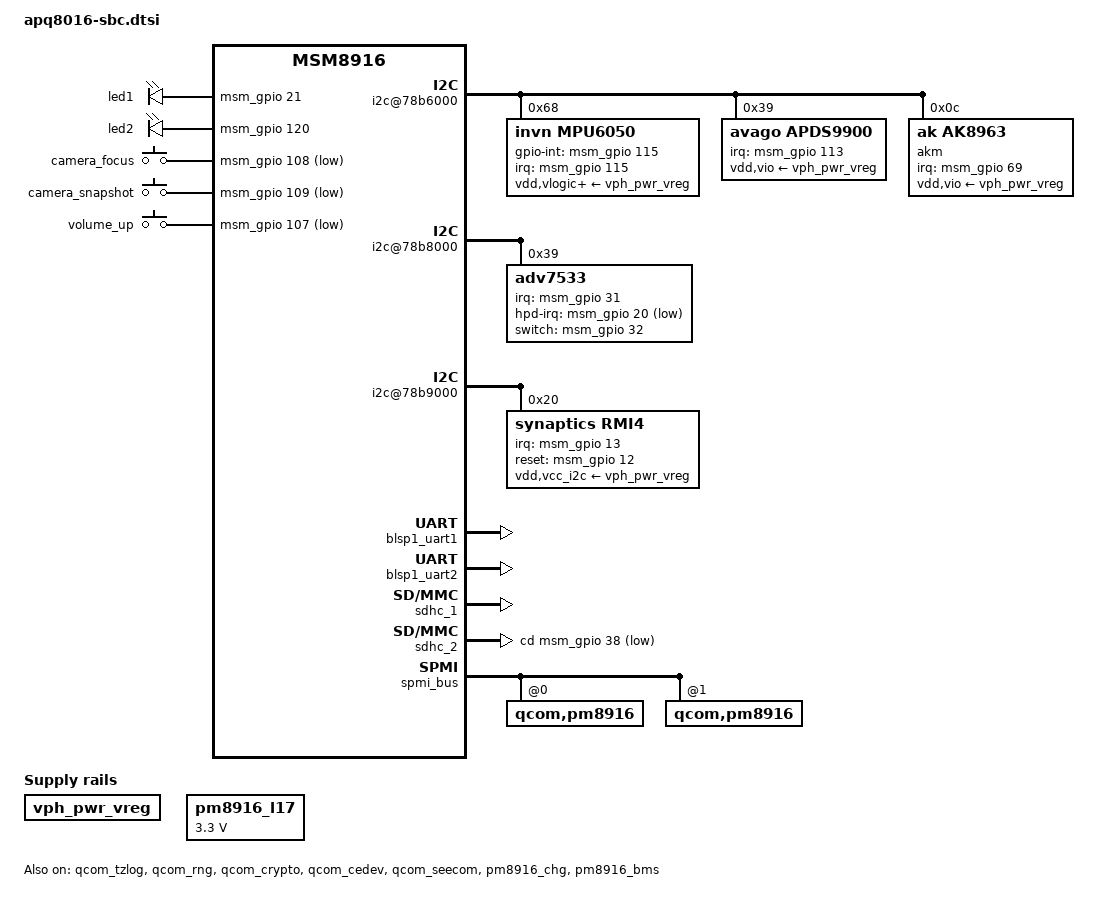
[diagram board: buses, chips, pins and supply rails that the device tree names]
/* Copyright (c) 2015, The Linux Foundation. All rights reserved.
 *
 * This program is free software; you can redistribute it and/or modify
 * it under the terms of the GNU General Public License version 2 and
 * only version 2 as published by the Free Software Foundation.
 *
 * This program is distributed in the hope that it will be useful,
 * but WITHOUT ANY WARRANTY; without even the implied warranty of
 * MERCHANTABILITY or FITNESS FOR A PARTICULAR PURPOSE.  See the
 * GNU General Public License for more details.
 */

#include "msm8916.dtsi"
#include "msm8916-pinctrl.dtsi"
#include "apq8016-camera-sensor-sbc.dtsi"
#include "dsi-panel-jdi-1080p-video.dtsi"

/ {
	aliases {
		serial0 = &blsp1_uart2;
	};
};

&soc {
	i2c@78b6000 { /* BLSP1 QUP2 */
		mpu6050@68 { /* Gyroscope and accelerometer sensor combo */
			compatible = "invn,mpu6050";
			reg = <0x68>;
			pinctrl-names = "mpu_default","mpu_sleep";
			pinctrl-0 = <&mpu6050_default>;
			pinctrl-1 = <&mpu6050_sleep>;
			interrupt-parent = <&msm_gpio>;
			interrupts = <115 0x2>;
			vdd-supply = <&vph_pwr_vreg>;
			vlogic-supply = <&vph_pwr_vreg>;
			vi2c-supply = <&vph_pwr_vreg>;
			invn,gpio-int = <&msm_gpio 115 0x2>;
			invn,place = "Portrait Down Back Side";
		};

		avago@39 { /* Ambient light and proximity sensor */
			compatible = "avago,apds9900";
			reg = <0x39>;
			pinctrl-names = "default","sleep";
			pinctrl-0 = <&apds99xx_default>;
			pinctrl-1 = <&apds99xx_sleep>;
			interrupt-parent = <&msm_gpio>;
			interrupts = <113 0x2002>;
			vdd-supply = <&vph_pwr_vreg>;
			vio-supply = <&vph_pwr_vreg>;
			avago,irq-gpio = <&msm_gpio 113 0x2002>;
			avago,ps-threshold = <600>;
			avago,ps-hysteresis-threshold = <500>;
			avago,ps-pulse = <8>;
			avago,ps-pgain = <0>;
			avago,als-B = <223>;
			avago,als-C = <70>;
			avago,als-D = <142>;
			avago,ga-value = <48>;
		};

		akm@c {
			compatible = "ak,ak8963";
			reg = <0x0c>;
			pinctrl-names = "ak8963_default", "ak8963_sleep";
			pinctrl-0 = <&ak8963_default>;
			pinctrl-1 = <&ak8963_sleep>;
			interrupt-parent = <&msm_gpio>;
			interrupts = <69 0x2>;
			vdd-supply = <&vph_pwr_vreg>;
			vio-supply = <&vph_pwr_vreg>;
			ak,layout = <0x6>;
			ak,auto-report;
		};
	};

    spi_0 { /* BLSP1 QUP3 */
		status = "disabled";
    };

	i2c@78b8000 { /* BLSP1 QUP4 */
		/* DSI_TO_HDMI I2C configuration */
		adv7533@39 {
			compatible = "adv7533";
			reg = <0x39>;
			adv7533,video-mode = <3>; /* 3 = 1080p */
			adv7533,main-addr = <0x39>;
			adv7533,cec-dsi-addr = <0x3C>;
			adv7533,audio = <1>;
			pinctrl-names = "pmx_adv7533_active","pmx_adv7533_suspend";
			pinctrl-0 = <&adv7533_int_active &adv7533_hpd_int_active &adv7533_switch_active>;
			pinctrl-1 = <&adv7533_int_suspend &adv7533_hpd_int_suspend &adv7533_switch_suspend>;
			adv7533,irq-gpio = <&msm_gpio 31 0x2002>;
			adv7533,hpd-irq-gpio = <&msm_gpio 20 0x2003>;
			adv7533,switch-gpio = <&msm_gpio 32 0x0>;
		};
	};

	i2c@78b9000 { /* BLSP1 QUP5 */
		synaptics@20 {
			compatible = "synaptics,rmi4";
			reg = <0x20>;
			interrupt-parent = <&msm_gpio>;
			interrupts = <13 0x2008>;
			vdd-supply = <&vph_pwr_vreg>;
			vcc_i2c-supply = <&vph_pwr_vreg>;
			/* pins used by touchscreen */
			pinctrl-names = "pmx_ts_active","pmx_ts_suspend","pmx_ts_suspend";
			pinctrl-0 = <&ts_int_active &ts_reset_active>;
			pinctrl-1 = <&ts_int_suspend &ts_reset_suspend>;
			pinctrl-2 = <&ts_release>;
			synaptics,display-coords = <0 0 1079 1919>;
			synaptics,panel-coords = <0 0 1079 2084>;
			synaptics,irq-gpio = <&msm_gpio 13 0x2008>;
			synaptics,reset-gpio = <&msm_gpio 12 0x0>;
			synaptics,i2c-pull-up;
			synaptics,power-down;
			synaptics,disable-gpios;
			/* Underlying clocks used by secure touch */
			clocks = <&clock_gcc clk_gcc_blsp1_ahb_clk>,
			 <&clock_gcc clk_gcc_blsp1_qup5_i2c_apps_clk>;
			clock-names = "iface_clk", "core_clk";
		};
	};

	i2c@78ba000 { /* BLSP1 QUP6 */
        /*insert i2c_6 states expansion connector  */
	};

	/*
	* vph_pwr_vreg represents the unregulated battery voltage supply
	* VPH_PWR that is present whenever the device is powered on.
	*/
	vph_pwr_vreg: vph_pwr_vreg {
		compatible = "regulator-fixed";
		regulator-name = "vph_pwr";
		status = "ok";
		regulator-always-on;
		enable-active-high;
	};


	gen-vkeys {
		compatible = "qcom,gen-vkeys";
		label = "synaptics_rmi4_i2c";
		qcom,disp-maxx = <1079>;
		qcom,disp-maxy = <1919>;
		qcom,panel-maxx = <1079>;
		qcom,panel-maxy = <2084>;
		qcom,key-codes = <158 139 172 217>;
	};


	sound {
		compatible = "qcom,msm8x16-audio-codec";
		qcom,model = "msm8x16-snd-card-sbc";
		qcom,msm-snd-card-id = <0>;
		qcom,msm-codec-type = "internal";
		qcom,msm-ext-pa = "quaternary";
		qcom,msm-mclk-freq = <9600000>;
		qcom,msm-mbhc-hphl-swh = <0>;
		qcom,msm-mbhc-gnd-swh = <0>;
		qcom,msm-micbias1-ext-cap;
		qcom,msm-hs-micbias-type = "internal";
		qcom,audio-routing =
			"RX_BIAS", "MCLK",
			"SPK_RX_BIAS", "MCLK",
			"INT_LDO_H", "MCLK",
			"MIC BIAS External", "Handset Mic",
			"MIC BIAS Internal2", "Headset Mic",
			"MIC BIAS External", "Secondary Mic",
			"AMIC1", "MIC BIAS External",
			"AMIC2", "MIC BIAS Internal2",
			"AMIC3", "MIC BIAS External",
			"DMIC1", "MIC BIAS Internal1",
			"MIC BIAS Internal1", "Digital Mic1",
			"DMIC2", "MIC BIAS Internal1",
			"MIC BIAS Internal1", "Digital Mic2";
		pinctrl-names = "cdc_lines_act",
				"cdc_lines_sus",
				"cdc_lines_sec_ext_act",
				"cdc_lines_sec_ext_sus",
				"cross_conn_det_act",
				"cross_conn_det_sus",
				"cdc_lines_quat_ext_act",
				"cdc_lines_quat_ext_sus";
		pinctrl-0 = <&cdc_pdm_lines_act>;
		pinctrl-1 = <&cdc_pdm_lines_sus>;
		pinctrl-2 = <&cdc_pdm_lines_act &cdc_ext_pa_act
						&cdc_ext_pa_ws_act>;
		pinctrl-3 = <&cdc_pdm_lines_sus &cdc_ext_pa_sus
						&cdc_ext_pa_ws_sus>;
		pinctrl-4 = <&cross_conn_det_act>;
		pinctrl-5 = <&cross_conn_det_sus>;
		pinctrl-6 = <&ext_cdc_tlmm_lines_act &cdc_pdm_lines_act
						&cross_conn_det_act>;
		pinctrl-7 = <&ext_cdc_tlmm_lines_sus &cdc_pdm_lines_sus
						&cross_conn_det_sus>;

		asoc-platform = <&pcm0>, <&pcm1>, <&voip>, <&voice>,
				<&loopback>, <&compress>, <&hostless>,
				<&afe>, <&lsm>, <&routing>, <&lpa>;
		asoc-platform-names = "msm-pcm-dsp.0", "msm-pcm-dsp.1",
				"msm-voip-dsp", "msm-pcm-voice", "msm-pcm-loopback",
				"msm-compress-dsp", "msm-pcm-hostless", "msm-pcm-afe",
				"msm-lsm-client", "msm-pcm-routing", "msm-pcm-lpa";
		asoc-cpu = <&dai_pri_auxpcm>, <&dai_hdmi>,
				<&dai_mi2s0>, <&dai_mi2s1>, <&dai_mi2s2>, <&dai_mi2s3>,
				<&sb_0_rx>, <&sb_0_tx>, <&sb_1_rx>, <&sb_1_tx>,
				<&sb_3_rx>, <&sb_3_tx>, <&sb_4_rx>, <&sb_4_tx>,
				<&bt_sco_rx>, <&bt_sco_tx>, <&int_fm_rx>, <&int_fm_tx>,
				<&afe_pcm_rx>, <&afe_pcm_tx>, <&afe_proxy_rx>, <&afe_proxy_tx>,
				<&incall_record_rx>, <&incall_record_tx>, <&incall_music_rx>,
				<&incall_music_2_rx>;
		asoc-cpu-names = "msm-dai-q6-auxpcm.1", "msm-dai-q6-hdmi.8",
				"msm-dai-q6-mi2s.0", "msm-dai-q6-mi2s.1",
				"msm-dai-q6-mi2s.2", "msm-dai-q6-mi2s.3",
				"msm-dai-q6-dev.16384", "msm-dai-q6-dev.16385",
				"msm-dai-q6-dev.16386", "msm-dai-q6-dev.16387",
				"msm-dai-q6-dev.16390", "msm-dai-q6-dev.16391",
				"msm-dai-q6-dev.16392", "msm-dai-q6-dev.16393",
				"msm-dai-q6-dev.12288", "msm-dai-q6-dev.12289",
				"msm-dai-q6-dev.12292", "msm-dai-q6-dev.12293",
				"msm-dai-q6-dev.224", "msm-dai-q6-dev.225",
				"msm-dai-q6-dev.241", "msm-dai-q6-dev.240",
				"msm-dai-q6-dev.32771", "msm-dai-q6-dev.32772",
				"msm-dai-q6-dev.32773", "msm-dai-q6-dev.32770";
		asoc-codec = <&stub_codec>, <&pm8916_tombak_dig>;
		asoc-codec-names = "msm-stub-codec.1", "tombak_codec";
	};

	gpio-leds {
		compatible = "gpio-leds";
		status = "okay";
		pinctrl-names = "default";
		pinctrl-0 = <&gpio_led_off>;

		general1 {
			gpios = <&msm_gpio 21 0>;
			label = "led1";
			linux,default-trigger = "none";
			default-state = "off";
			retain-state-suspended;
		};

		general2 {
			gpios = <&msm_gpio 120 0>;
			label = "led2";
			linux,default-trigger = "none";
			default-state = "off";
			retain-state-suspended;
		};
	};

	gpio_keys {
		compatible = "gpio-keys";
		input-name = "gpio-keys";
		pinctrl-names = "tlmm_gpio_key_active","tlmm_gpio_key_suspend";
		pinctrl-0 = <&gpio_key_active>;
		pinctrl-1 = <&gpio_key_suspend>;

		camera_focus {
			label = "camera_focus";
			gpios = <&msm_gpio 108 0x1>;
			linux,input-type = <1>;
			linux,code = <0x210>;
			gpio-key,wakeup;
			debounce-interval = <15>;
		};

		camera_snapshot {
			label = "camera_snapshot";
			gpios = <&msm_gpio 109 0x1>;
			linux,input-type = <1>;
			linux,code = <0x2fe>;
			gpio-key,wakeup;
			debounce-interval = <15>;
		};

		vol_up {
			label = "volume_up";
			gpios = <&msm_gpio 107 0x1>;
			linux,input-type = <1>;
			linux,code = <115>;
			gpio-key,wakeup;
			debounce-interval = <15>;
		};
	};

	qcom,wcnss-wlan@0a000000 {
		qcom,wlan-indication-enabled;
	};
};

&usb_otg {
	qcom,hsusb-otg-mode = <3>;
	qcom,usbid-gpio = <&msm_gpio 121 0>;
	qcom,hub-reset-gpio = <&pm8916_gpios 3 0>;
	qcom,sw-sel-gpio = <&pm8916_gpios 4 0>;
	pinctrl-names = "default";
	pinctrl-0 = <&usbid_default>;
	vbus_otg-supply = <&vph_pwr_vreg>;
};

&blsp1_uart1 {
	status = "ok";
};

&blsp1_uart2 {
	status = "ok";
	pinctrl-names = "default";
	pinctrl-0 = <&uart_console_sleep>;
};

&sdhc_1 {
	vdd-supply = <&pm8916_l8>;
	qcom,vdd-voltage-level = <2900000 2900000>;
	qcom,vdd-current-level = <200 400000>;

	vdd-io-supply = <&pm8916_l5>;
	qcom,vdd-io-always-on;
	qcom,vdd-io-lpm-sup;
	qcom,vdd-io-voltage-level = <1800000 1800000>;
	qcom,vdd-io-current-level = <200 60000>;

	pinctrl-names = "active", "sleep";
	pinctrl-0 = <&sdc1_clk_on &sdc1_cmd_on &sdc1_data_on>;
	pinctrl-1 = <&sdc1_clk_off &sdc1_cmd_off &sdc1_data_off>;

	qcom,nonremovable;

	status = "ok";
};

&sdhc_2 {
	vdd-supply = <&pm8916_l11>;
	qcom,vdd-voltage-level = <2800000 2950000>;
	qcom,vdd-current-level = <15000 400000>;

	vdd-io-supply = <&pm8916_l12>;
	qcom,vdd-io-voltage-level = <1800000 2950000>;
	qcom,vdd-io-current-level = <200 50000>;

	pinctrl-names = "active", "sleep";
	pinctrl-0 = <&sdc2_clk_on &sdc2_cmd_on &sdc2_data_on &sdc2_cd_on>;
	pinctrl-1 = <&sdc2_clk_off &sdc2_cmd_off &sdc2_data_off &sdc2_cd_off>;

	#address-cells = <0>;
	interrupt-parent = <&sdhc_2>;
	interrupts = <0 1 2>;
	#interrupt-cells = <1>;
	interrupt-map-mask = <0xffffffff>;
	interrupt-map = <0 &intc 0 125 0
			1 &intc 0 221 0
			2 &msm_gpio 38 0>;
	interrupt-names = "hc_irq", "pwr_irq", "status_irq";
	cd-gpios = <&msm_gpio 38 0x1>;

	status = "ok";
};

&dsi_jdi_1080_vid {
	qcom,mdss-dsi-bl-pmic-control-type = "bl_ctrl_pwm";
	qcom,mdss-dsi-bl-pmic-pwm-frequency = <100>;
	qcom,mdss-dsi-bl-pmic-bank-select = <0>;
	qcom,mdss-dsi-pwm-gpio = <&pm8916_mpps 4 0>;

};

&mdss_mdp {
	qcom,mdss-pref-prim-intf = "dsi";

	dsi_adv7533_720p: qcom,mdss_dsi_adv7533_720p {
		label = "adv7533 720p video mode dsi panel";
		qcom,mdss-dsi-panel-name = "dsi_adv7533_720p";
		qcom,mdss-dsi-panel-controller = <&mdss_dsi0>;
		qcom,mdss-dsi-panel-type = "dsi_video_mode";
		qcom,mdss-dsi-panel-destination = "display_1";
		qcom,mdss-dsi-panel-framerate = <60>;
		qcom,mdss-dsi-virtual-channel-id = <0>;
		qcom,mdss-dsi-stream = <0>;
		qcom,mdss-dsi-panel-width = <1280>;
		qcom,mdss-dsi-panel-height = <720>;
		qcom,mdss-dsi-h-front-porch = <110>;
		qcom,mdss-dsi-h-back-porch = <220>;
		qcom,mdss-dsi-h-pulse-width = <40>;
		qcom,mdss-dsi-h-sync-skew = <0>;
		qcom,mdss-dsi-v-back-porch = <20>;
		qcom,mdss-dsi-v-front-porch = <5>;
		qcom,mdss-dsi-v-pulse-width = <5>;
		qcom,mdss-dsi-h-left-border = <0>;
		qcom,mdss-dsi-h-right-border = <0>;
		qcom,mdss-dsi-v-top-border = <0>;
		qcom,mdss-dsi-v-bottom-border = <0>;
		qcom,mdss-dsi-bpp = <24>;
		qcom,mdss-dsi-underflow-color = <0xff>;
		qcom,mdss-dsi-border-color = <0>;
		qcom,mdss-dsi-on-command = [
				05 01 00 00 c8 00 02 11 00
				05 01 00 00 0a 00 02 29 00];
		qcom,mdss-dsi-off-command = [05 01 00 00 00 00 02 28 00
				05 01 00 00 00 00 02 10 00];
		qcom,mdss-dsi-on-command-state = "dsi_lp_mode";
		qcom,mdss-dsi-off-command-state = "dsi_hs_mode";
		qcom,mdss-dsi-h-sync-pulse = <1>;
		qcom,mdss-dsi-traffic-mode = "non_burst_sync_pulse";
		qcom,mdss-dsi-bllp-eof-power-mode;
		qcom,mdss-dsi-bllp-power-mode;
		qcom,mdss-dsi-lane-0-state;
		qcom,mdss-dsi-lane-1-state;
		qcom,mdss-dsi-lane-2-state;
		qcom,mdss-dsi-panel-timings = [A4 24 18 00 4E 52 1C 28 1C 03 04 00];
		qcom,mdss-dsi-t-clk-post = <0x03>;
		qcom,mdss-dsi-t-clk-pre = <0x20>;
		qcom,mdss-dsi-bl-min-level = <1>;
		qcom,mdss-dsi-bl-max-level = <4095>;
		qcom,mdss-dsi-dma-trigger = "trigger_sw";
		qcom,mdss-dsi-mdp-trigger = "none";
		qcom,mdss-dsi-bl-pmic-control-type = "bl_ctrl_wled";
		qcom,mdss-dsi-reset-sequence = <1 20>, <0 1>, <1 20>;
		qcom,mdss-pan-physical-width-dimension = <160>;
		qcom,mdss-pan-physical-height-dimension = <90>;
		qcom,mdss-dsi-force-clock-lane-hs;
		qcom,mdss-dsi-always-on;
	};

	dsi_adv7533_1080p: qcom,mdss_dsi_adv7533_1080p {
		label = "adv7533 720p video mode dsi panel";
		qcom,mdss-dsi-panel-name = "dsi_adv7533_1080p";
		qcom,mdss-dsi-panel-controller = <&mdss_dsi0>;
		qcom,mdss-dsi-panel-type = "dsi_video_mode";
		qcom,mdss-dsi-panel-destination = "display_1";
		qcom,mdss-dsi-panel-framerate = <60>;
		qcom,mdss-dsi-virtual-channel-id = <0>;
		qcom,mdss-dsi-stream = <0>;
		qcom,mdss-dsi-panel-width = <1920>;
		qcom,mdss-dsi-panel-height = <1080>;
		qcom,mdss-dsi-h-front-porch = <88>;
		qcom,mdss-dsi-h-back-porch = <148>;
		qcom,mdss-dsi-h-pulse-width = <44>;
		qcom,mdss-dsi-h-sync-skew = <0>;
		qcom,mdss-dsi-v-back-porch = <36>;
		qcom,mdss-dsi-v-front-porch = <4>;
		qcom,mdss-dsi-v-pulse-width = <5>;
		qcom,mdss-dsi-h-left-border = <0>;
		qcom,mdss-dsi-h-right-border = <0>;
		qcom,mdss-dsi-v-top-border = <0>;
		qcom,mdss-dsi-v-bottom-border = <0>;
		qcom,mdss-dsi-bpp = <24>;
		qcom,mdss-dsi-underflow-color = <0xff>;
		qcom,mdss-dsi-border-color = <0>;
		qcom,mdss-dsi-on-command = [
				05 01 00 00 c8 00 02 11 00
				05 01 00 00 0a 00 02 29 00];
		qcom,mdss-dsi-off-command = [05 01 00 00 00 00 02 28 00
				05 01 00 00 00 00 02 10 00];
		qcom,mdss-dsi-on-command-state = "dsi_lp_mode";
		qcom,mdss-dsi-off-command-state = "dsi_hs_mode";
		qcom,mdss-dsi-h-sync-pulse = <1>;
		qcom,mdss-dsi-traffic-mode = "non_burst_sync_pulse";
		qcom,mdss-dsi-bllp-eof-power-mode;
		qcom,mdss-dsi-bllp-power-mode;
		qcom,mdss-dsi-lane-0-state;
		qcom,mdss-dsi-lane-1-state;
		qcom,mdss-dsi-lane-2-state;
		qcom,mdss-dsi-lane-3-state;
		qcom,mdss-dsi-panel-timings = [E6 38 26 00 68 6C 2A 3A 2C 03 04 00];
		qcom,mdss-dsi-t-clk-post = <0x02>;
		qcom,mdss-dsi-t-clk-pre = <0x2B>;
		qcom,mdss-dsi-bl-min-level = <1>;
		qcom,mdss-dsi-bl-max-level = <4095>;
		qcom,mdss-dsi-dma-trigger = "trigger_sw";
		qcom,mdss-dsi-mdp-trigger = "none";
		qcom,mdss-dsi-bl-pmic-control-type = "bl_ctrl_wled";
		qcom,mdss-dsi-reset-sequence = <1 20>, <0 1>, <1 20>;
		qcom,mdss-pan-physical-width-dimension = <160>;
		qcom,mdss-pan-physical-height-dimension = <90>;
		qcom,mdss-dsi-force-clock-lane-hs;
		qcom,mdss-dsi-always-on;
	};
};

&mdss_dsi0 {
	qcom,dsi-pref-prim-pan = <&dsi_adv7533_1080p>;
	pinctrl-names = "mdss_default", "mdss_sleep";
	pinctrl-0 = <&mdss_dsi_active &mdss_te_active>;
	pinctrl-1 = <&mdss_dsi_suspend &mdss_te_suspend>;

	qcom,platform-reset-gpio = <&msm_gpio 25 0>;

	qcom,panel-supply-entries {
			#address-cells = <1>;
			#size-cells = <0>;

			qcom,panel-supply-entry@0 {
				reg = <0>;
				qcom,supply-name = "vdd";
				qcom,supply-min-voltage = <3300000>;
				qcom,supply-max-voltage = <3300000>;
				qcom,supply-enable-load = <100000>;
				qcom,supply-disable-load = <100>;
			};

			qcom,panel-supply-entry@1 {
				reg = <1>;
				qcom,supply-name = "vddio";
				qcom,supply-min-voltage = <1800000>;
				qcom,supply-max-voltage = <1800000>;
				qcom,supply-enable-load = <100000>;
				qcom,supply-disable-load = <100>;
			};
	};

};

&dsi_jdi_1080_vid {
       qcom,cont-splash-enabled;
};

&qcom_tzlog {
	status = "okay";
};

&qcom_rng {
	status = "okay";
};

&qcom_crypto {
	status = "okay";
};

&qcom_cedev {
	status = "okay";
};

&qcom_seecom {
	status = "okay";
};

/* CoreSight */
&tpiu {
      pinctrl-names = "sdcard", "trace", "swduart",
		      "swdtrc", "jtag", "spmi";
       /* NIDnT */
      pinctrl-0 = <&qdsd_clk_sdcard &qdsd_cmd_sdcard
                  &qdsd_data0_sdcard &qdsd_data1_sdcard
                  &qdsd_data2_sdcard &qdsd_data3_sdcard>;
      pinctrl-1 = <&qdsd_clk_trace &qdsd_cmd_trace
                  &qdsd_data0_trace &qdsd_data1_trace
                  &qdsd_data2_trace &qdsd_data3_trace>;
      pinctrl-2 = <&qdsd_cmd_swduart &qdsd_data0_swduart
                  &qdsd_data1_swduart &qdsd_data2_swduart
                  &qdsd_data3_swduart>;
      pinctrl-3 = <&qdsd_clk_swdtrc &qdsd_cmd_swdtrc
                  &qdsd_data0_swdtrc &qdsd_data1_swdtrc
                  &qdsd_data2_swdtrc &qdsd_data3_swdtrc>;
      pinctrl-4 = <&qdsd_cmd_jtag &qdsd_data0_jtag
                  &qdsd_data1_jtag &qdsd_data2_jtag
                  &qdsd_data3_jtag>;
      pinctrl-5 = <&qdsd_clk_spmi &qdsd_cmd_spmi
                  &qdsd_data0_spmi &qdsd_data3_spmi>;
};

&pm8916_chg {
        status = "ok";
        qcom,charging-disabled;
        qcom,disable-follow-on-reset;
};

&pm8916_bms {
        status = "ok";
        qcom,disable-bms;
};

&tlmm_pinmux {
	usb-id-pin {
		qcom,pins = <&gp 121>;
	     usbid_default{
			drive-strength = <2>;
			bias-disable; /* no pullup */
			output-low;
		};
	};

	gpio_led_pins {
		qcom,pins = <&gp 21>, <&gp 120>;
		qcom,num-grp-pins = <2>;
		label = "gpio-led-pins";
		gpio_led_off: led_off {
			drive-strength = <2>;
			bias-disable; /* no pullup */
			output-low;
		};
	};

	ice40-spi-usb-pins {
		status = "disabled";
	};

	cam_sensor_flash {
		status = "disabled";
    };

	pmx_rd_nfc_int {
		status = "disabled";
    };

	pmx_nfc_reset {
		status = "disabled";
    };

    pmx_i2c_5 {
		status = "disabled";
    };

    pmx_mdss_te {
	    qcom,num-grp-pins = <1>;
	    qcom,pins = <&gp 24>;
    };

    pmx_mdss {
	    qcom,num-grp-pins = <1>;
	    qcom,pins = <&gp 25>;
    };

    tpiu_setb_9 {
       status = "disabled";
    };

	/* add pingrp for adv7533 */
	pmx_adv7533_int_active {
		qcom,pins = <&gp 31>;
		qcom,pin-func = <0>;
		qcom,num-grp-pins = <1>;
		label = "pmx_adv7533_int_active";

		adv7533_int_active: adv7533_int_active {
			drive-strength = <16>;
			bias-disable;
		};
	};

	pmx_adv7533_int_suspend {
		qcom,pins = <&gp 20>;
		qcom,pin-func = <0>;
		qcom,num-grp-pins = <1>;
		label = "pmx_adv7533_int_suspend";

		adv7533_int_suspend: adv7533_int_suspend {
			drive-strength = <16>;
			bias-disable;
		};
	};

	pmx_adv7533_hpd_int_active {
		qcom,pins = <&gp 20>;
		qcom,pin-func = <0>;
		qcom,num-grp-pins = <1>;
		label = "pmx_adv7533_hpd_int_active";

		adv7533_hpd_int_active: adv7533_hpd_int_active {
			drive-strength = <16>;
			bias-disable;
		};
	};

	pmx_adv7533_hpd_int_suspend {
		qcom,pins = <&gp 20>;
		qcom,pin-func = <0>;
		qcom,num-grp-pins = <1>;
		label = "pmx_adv7533_hpd_int_suspend";

		adv7533_hpd_int_suspend: adv7533_hpd_int_suspend {
			drive-strength = <16>;
			bias-disable;
		};
	};

	pmx_adv7533_switch_active {
		qcom,pins = <&gp 32>;
		qcom,pin-func = <0>;
		qcom,num-grp-pins = <1>;
		label = "pmx_adv7533_switch_active";

		adv7533_switch_active: adv7533_switch_active {
			drive-strength = <16>;
			bias-disable;
		};
	};

	pmx_adv7533_switch_suspend {
		qcom,pins = <&gp 32>;
		qcom,pin-func = <0>;
		qcom,num-grp-pins = <1>;
		label = "pmx_adv7533_switch_suspend";

		adv7533_switch_suspend: adv7533_switch_suspend {
			drive-strength = <16>;
			bias-disable;
		};
	};
};


&pm8916_mpps {
	mpp@a000 { /* MPP 1 */
		/* VDD_PX */
		status = "disabled";
	};

	mpp@a100 { /* MPP 2 */
		/* HR LED */
	};

	mpp@a200 { /* MPP 3 */
		/* VREF DAC */
		status = "disabled";
	};

	mpp@a300 { /* MPP 4 */
		/* Backlight PWM */
		qcom,mode = <1>;		/* Digital output */
		qcom,invert = <0>;		/* Disable invert */
		qcom,src-sel = <4>;		/* DTEST1 */
		qcom,vin-sel = <0>;		/* VPH_PWR */
		qcom,master-en = <1>;		/* Enable MPP */
	};
};

&pm8916_gpios {
	gpio@c000 { /* GPIO 1 */
		qcom,mode = <1>;		/* Digital output */
		qcom,pull = <4>;		/* Pull down */
		qcom,vin-sel = <2>;		/* VIN 2*/
		qcom,src-sel = <1>;		/* GPIO */
		qcom,master-en = <1>;	/* Enable GPIO */
		status = "okay";
	};

	gpio@c100 { /* GPIO 2 */
		qcom,mode = <1>;		/* Digital output */
		qcom,pull = <4>;		/* Pull down */
		qcom,vin-sel = <2>;		/* VIN 2*/
		qcom,src-sel = <1>;		/* GPIO */
		qcom,master-en = <1>;	/* Enable GPIO */
		status = "okay";
	};

	/* USB_HUB_RESET_N*/
	gpio@c200 { /* GPIO 3*/
		qcom,mode = <1>;	/* Digital output */
		qcom,pull = <5>;	/* No PULL */
		qcom,vin-sel = <0>;	/* VPH */
		qcom,src-sel = <0>;	/* CONSTANT */
		qcom,master-en = <1>; 	/* ENABLE GPIO */
		status = "okay";
	};

	/* USB_SW_SEL*/
	gpio@c300 { /* GPIO 4 */
		qcom,mode = <1>;	/* Digital output */
		qcom,pull = <5>;	/* No PULL */
		qcom,vin-sel = <0>;	/* VPH */
		qcom,src-sel = <0>;	/* CONSTANT */
		qcom,master-en = <1>; 	/* ENABLE GPIO */
		status = "okay";
	};
};

&spmi_bus {
	qcom,pm8916@0 {
		qcom,leds@c000  {
			compatible = "qcom,leds-qpnp";
			reg = <0xc000 0x100>;
			status = "okay";
			qcom,led_gpio_1 {
				label = "gpio";
				linux,name = "led3";
				qcom,max-current = <40>;
				qcom,id = <8>;
				linux,default-trigger = "none";
				qcom,default-state = "off";
				qcom,source-sel = <1>;
				qcom,mode-ctrl = <0x10>;
				qcom,vin-ctrl = <0x03>;
			};
		};
		qcom,leds@c100  {
			compatible = "qcom,leds-qpnp";
			reg = <0xc100 0x100>;
			status = "okay";
			qcom,led_gpio_2 {
				label = "gpio";
				linux,name = "boot";
				qcom,max-current = <40>;
				qcom,id = <8>;
				linux,default-trigger =
						"boot-indication";
				qcom,default-state = "on";
				qcom,source-sel = <1>;
				qcom,mode-ctrl = <0x10>;
				qcom,vin-ctrl = <0x03>;
			};
		};
		pm8916_pon: qcom,power-on@800 {
			qcom,pon_1 {
				qcom,s2-type = <7>;
			};
		};
	};
};

/* RPM controlled regulators */
&pm8916_l4 {
	status = "disabled";
};


&pm8916_l10 {
	status = "disabled";
};


&pm8916_l14 {
	status = "disabled";
};


&pm8916_l15 {
	regulator-always-on;
};

&pm8916_l16{
	regulator-always-on;
};

&pm8916_l17 {
	regulator-min-microvolt = <3300000>;
	regulator-max-microvolt = <3300000>;
	qcom,init-voltage = <3300000>;
};

&pm8916_l18 {
	status = "disabled";
};

&pm8916_s3{
	qcom,init-voltage = <1300000>;
};

&mdss_fb0 {
	qcom,boot-indication-enabled;
};

&spmi_bus {
	qcom,pm8916@0 {
		qcom,leds@a100 { /* WLAN LED */
		status = "okay";
			qcom,led_mpp_2 {
				label = "mpp";
				linux,name = "wlan";
				qcom,max-current = <40>;
				qcom,id = <6>;
				qcom,source-sel = <1>;
				qcom,mode-ctrl = <0x10>;
				qcom,mode = "manual";
				linux,default-trigger =
					"wlan-indication-led";
			};
		};

		qcom,leds@a200 { /* BT LED */
		compatible = "qcom,leds-qpnp";
		reg = <0xa200 0x100>;
		status = "okay";
			qcom,led_mpp_3 {
				label = "mpp";
				linux,name = "bt";
				qcom,max-current = <40>;
				qcom,id = <6>;
				qcom,source-sel = <1>;
				qcom,mode-ctrl = <0x10>;
				qcom,mode = "manual";
				linux,default-trigger =
					"bt-indication-led";
			};
		};
	};

	qcom,pm8916@1 {
		qcom,vibrator@c000 {
			status = "okay";
			qcom,vib-timeout-ms = <15000>;
			qcom,vib-vtg-level-mV = <3100>;
		};
	};
};



